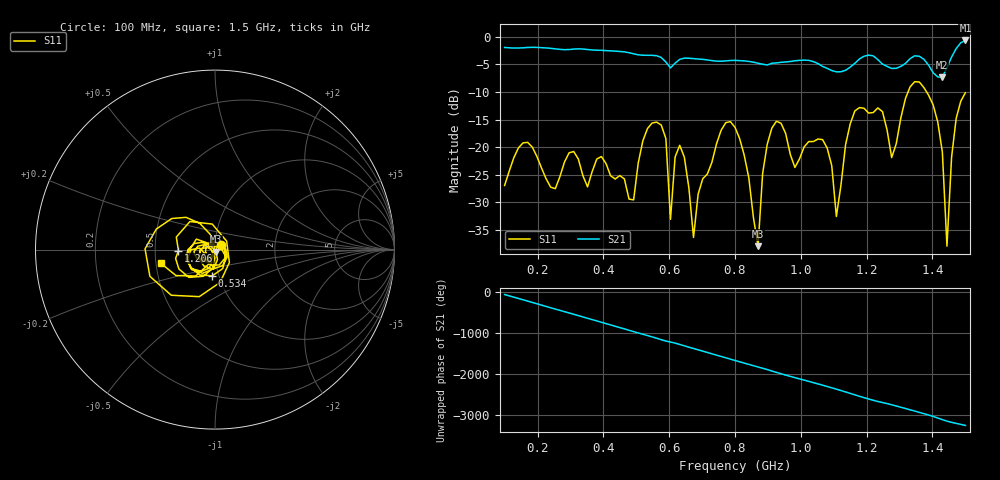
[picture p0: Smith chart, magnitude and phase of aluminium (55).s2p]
! NanoVNA-App
! Date: 2025-09-26 09:58:29
! Start: 100MHz Stop: 1,5GHz Points: 101
! S-Parameter data: F S11 S21 S12 S22
# Hz S RI R 50
!  Frequency  S11_Real  S11_Imag  S21_Real  S21_Imag  S12_Real  S12_Imag  S22_Real  S22_Imag
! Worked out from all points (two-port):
!   101 points, 100 MHz to 1.5 GHz, reference 50 ohm
!   highest |S21| = -0.64 dB at 1.5 GHz (marker M1); lowest = -7.3 dB at 1.43 GHz (marker M2)
!   |S21| within 3 dB of the highest: start of sweep to 571.9 MHz; 1.188 GHz to 1.224 GHz (35.98 MHz wide, 2.98 % of centre)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
!   lowest |S11| = -38.0 dB at 870 MHz (marker M3), VSWR 1.03, Z = 50.5 - j1.18 ohm
!   |S11| at or under -10 dB: start of sweep to 1.326 GHz; 1.382 GHz to end of sweep
!   S12 and S22 are empty: the file has one direction only
!   S11 on the Smith chart (normalised r, x): 100 MHz: 1.07, +0.06; 534 MHz: 0.93, -0.28; 1.206 GHz: 0.66, -0.01; 1.5 GHz: 0.53, -0.09
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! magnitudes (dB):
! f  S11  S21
! 100 MHz  -27.0  -1.9
! 156 MHz  -19.2  -2.0
! 338 MHz  -25.2  -2.2
! 492 MHz  -29.6  -3.1
! 534 MHz  -16.6  -3.3
! 576 MHz  -16.0  -3.7
! 604 MHz  -33.1  -5.6
! 632 MHz  -19.7  -4.1
! 674 MHz  -36.4  -3.9
! 800 MHz  -16.4  -4.3
! 870 MHz  -38.0  -4.8
! 912 MHz  -16.5  -4.8
! 1.038 GHz  -19.0  -4.5
! 1.108 GHz  -32.6  -6.3
! 1.15 GHz  -15.8  -5.5
! 1.206 GHz  -13.8  -3.3
! 1.276 GHz  -21.9  -5.7
! 1.346 GHz  -8.1  -3.4
! 1.43 GHz  -20.9  -7.3
! 1.444 GHz  -38.0  -5.6
! 1.472 GHz  -14.8  -2.1
! 1.5 GHz  -10.1  -0.6
